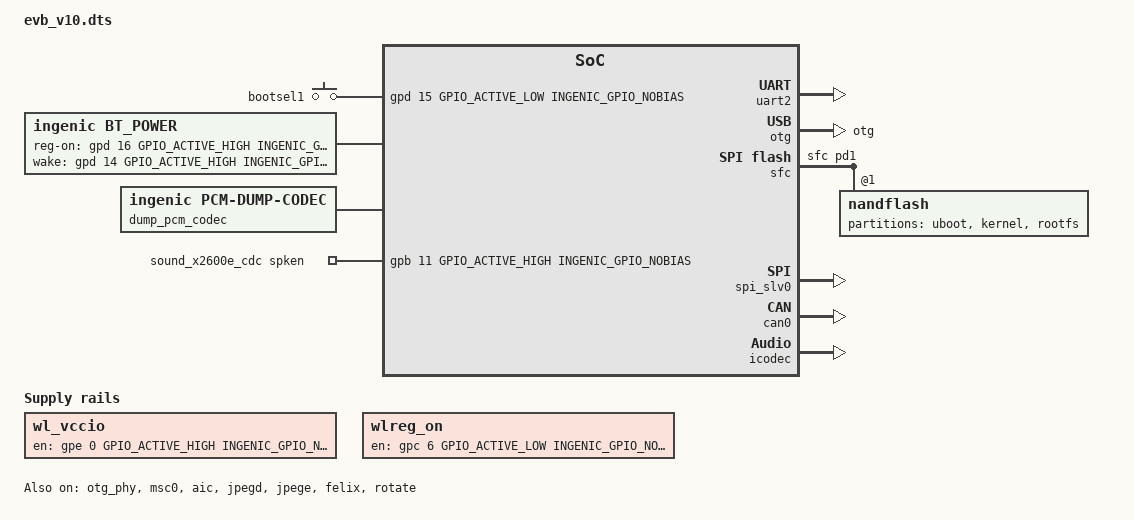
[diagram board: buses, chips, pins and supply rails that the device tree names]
/dts-v1/;

#include <dt-bindings/input/input.h>
#include <dt-bindings/interrupt-controller/irq.h>
#include <generated/autoconf.h>
#include "ad100.dtsi"

/ {
	compatible = "ingenic,ad100-evb";

	reserved-memory {
		#address-cells = <1>;
		#size-cells = <1>;
		ranges =<>;

		reserved_memory: reserved_mem@0x2D00000{
		      compatible = "shared-dma-pool";
		      reg = <0x02D00000 0x1200000>;
		};

	};
};

&uart2 {
	status = "okay";
	pinctrl-names = "default";
	pinctrl-0 = <&uart2_pd>;
};

&otg {
	dr_mode = "otg"; // host,peripheral,otg
	device-using-dma = <1>;
	status = "okay";
};

&otg_phy {
	status = "okay";
	ingenic,vbus-dete-gpio = <&gpb 04 GPIO_ACTIVE_LOW INGENIC_GPIO_NOBIAS>;
};

&msc0 {
	status = "okay";
	pinctrl-names ="default";
	pinctrl-0 = <&msc0_4bit>;
	max-frequency = <100000000>;
	bus-width = <4>;
	voltage-ranges = <3300 3300>;

	/* special property */
	cd-gpios = <&gpc 28 GPIO_ACTIVE_LOW INGENIC_GPIO_NOBIAS>;
};


&msc1 {
	status = "disabled";
	/*mmc-hs200-1_8v;*/
	pinctrl-names ="default";
	pinctrl-0 = <&msc1_4bit1>;

	cap-mmc-highspeed;
	max-frequency = <50000000>;
	bus-width = <4>;
	voltage-ranges = <1800 3300>;
	non-removable;

	ingenic,sdio_clk = <1>;
	keep-power-in-suspend;
	ingenic,removal-manual;
};

&sfc {
	status = "okay";
	pinctrl-names = "default";
	pinctrl-0 = <&sfc_pd1>;
	ingenic,sfc-max-frequency = <200000000>;
	ingenic,sfc-init-frequency= <40000000>;
	ingenic,use_ofpart_info  = /bits/ 8 <0>;
	ingenic,spiflash_param_offset = <0>;

	nandflash@1 {
		partitions {
			compatible = "fixed-partitions";
			#address-cells = <1>;
			#size-cells = <1>;
			/* spi nand flash partition */
			partition@0 {
				label = "uboot";
				reg = <0x0000000 0x100000>;
			/*read-only;*/
			};
			partition@100000 {
				label = "kernel";
				reg = <0x100000 0x800000>;
			};
			partition@900000 {
				label = "rootfs";
				reg = <0x900000 0xf700000>;
			};
		};
	};
};

&aic {
	status = "okay";
};

&dmic {
	status = "disable";
	pinctrl-names = "default";
	pinctrl-0 = <&dmic_pc_2ch>;
};

&spi_slv0 {
	status = "okay";
	pinctrl-names = "default";
	pinctrl-0 = <&spi_slv_pb>;
	ingenic,has_dma_support = <0>;
};

&can0 {
	status = "okay";
	pinctrl-names = "default";
	pinctrl-0 = <&can0_pin>;
	ingenic,clk-freq = <24000000>;
};

&efuse {
	status = "disabled";
};

&dtrng {
	status = "disabled";
};

&tcu0 {
	status = "disable";
};

&tcu1 {
	status = "disable";
};

/ {

	extclk: extclk {
		clock-frequency = <24000000>;
	};

	gpio_keys: gpio_keys {
		   compatible = "gpio-keys";

		   bootsel1 {
			   label = "bootsel1";
			   linux,code = <KEY_BACK>;
			   gpios = <&gpd 15 GPIO_ACTIVE_LOW INGENIC_GPIO_NOBIAS>;
			   gpio-key,wakeup;
		   };
	};

	wl_vccio: wl-regulator {
		  compatible = "regulator-fixed";
		  regulator-name = "wl_vccio";
		  gpio = <&gpe 0 GPIO_ACTIVE_HIGH INGENIC_GPIO_NOBIAS>;
		  enable-active-high;
	};

	wlreg_on: wlreg-on {
		  compatible = "regulator-fixed";
		  regulator-name = "wlreg_on";
		  gpio = <&gpc 6 GPIO_ACTIVE_LOW INGENIC_GPIO_NOBIAS>;
		  enable-active-low;
	};

	/*
	 * gpd 14 bt wakeup host
	 * gpd 13 host wakeup bt
	 */
	bt_power {
		compatible = "ingenic,bt_power";
		ingenic,reg-on-gpio = <&gpd 16 GPIO_ACTIVE_HIGH INGENIC_GPIO_NOBIAS>;
		ingenic,wake-gpio = <&gpd 14 GPIO_ACTIVE_HIGH INGENIC_GPIO_NOBIAS>;
		status = "okay";
	};

	watchdog {
		compatible = "sgm820-wdt";
		ingenic,sgm820-wdi = <&gpc 12 GPIO_ACTIVE_LOW INGENIC_GPIO_NOBIAS>;
		status = "okay";
	};

	dump_pcm_codec:dump_pcm_codec{
		compatible = "ingenic,pcm-dump-codec";
		status = "okay";
	};

	sound_x2600e_cdc {
		status = "okay";
		compatible = "ingenic,x2660-halley-sound";
		ingenic,model = "x2660";
		ingenic,dai-link = "pcm", "i2s-icodec", "dmic", "i2s-tloop";
		ingenic,stream = "pcm", "i2s-icodec", "dmic", "i2s-tloop";
		ingenic,cpu-dai = <&pcm>, <&i2s>, <&dmic>, <&i2s_tloop>;
		ingenic,platform = <&pcm>, <&aic>, <&dmic>, <&i2s_tloop>;
		ingenic,codec =  <&dump_pcm_codec>, <&icodec>, <&dmic>, <&dump_pcm_codec>;
		ingenic,codec-dai = "pcm-dump", "icodec", "dmic-dump-codec", "pcm-dump";
		ingenic,audio-routing = "Speaker", "HPOUTL", "DACL", "MICBIAS" ,
			"ADCL",  "MICL",
			"ADCR",  "MICR";
		ingenic,spken-gpio = <&gpb 11 GPIO_ACTIVE_HIGH INGENIC_GPIO_NOBIAS>;
	};

	spi_gpio {
		status = "disabled";
		compatible = "spi-gpio";
		#address-cells = <1>;
		#size-cells = <0>;
		/*ranges;*/
		gpio-sck = <&gpe 12 GPIO_ACTIVE_LOW INGENIC_GPIO_NOBIAS>;
		gpio-miso = <&gpe 13 GPIO_ACTIVE_LOW INGENIC_GPIO_NOBIAS>;
		gpio-mosi = <&gpe 14 GPIO_ACTIVE_LOW INGENIC_GPIO_NOBIAS>;
		cs-gpios = <&gpe 15 GPIO_ACTIVE_LOW INGENIC_GPIO_NOBIAS>;
		num-chipselects = <1>;
		/* clients */
		spidev1: spidev1@0 {
			compatible = "rohm,dh2228fv";
			reg = <0>;
			spi-max-frequency = <500000>;
		};
	};
};

&icodec {
	status = "okay";
	/**
	 * level1 : 1.6 * AVDD / 2
	 * level2 : 1.65 * AVDD / 2
	 * level3 : 1.7 * AVDD / 2
	 * level4 : 1.75 * AVDD / 2
	 * level5 : 1.8 * AVDD / 2
	 * level6 : 1.85 * AVDD / 2
	 * level7 : 1.9 * AVDD / 2
	 * level8 : 1.95 * AVDD / 2
	 */
	ingenic,micbias_level = <2>;

	/**
		micgain level list:
		level0: 0dB
		level1: 6dB
		level2: 20dB
		level3: 30dB
	 */
	ingenic,micgain_level = <1>;

    dac2adc_enable = <0>;
};
&jpegd {
	status = "okay";
	memory-region=<&reserved_memory>;
};

&jpege {
	status = "okay";
	memory-region=<&reserved_memory>;
};

&felix {
	status = "okay";
	memory-region=<&reserved_memory>;
};

&rotate {
	status = "okay";
};

&pdma {
	status = "okay";
};

&pdma1 {
	status = "okay";
};

&sadc {
	status = "disable";
	pinctrl-names = "default";
	pinctrl-0 = <&aux_all_pe>;
	seq1 = <0 1 2 3 4 5 6 7 8 9 10 11 12 13 14 15>;
	/* seq1的连续转换间隔时间 单位 ms*/
	seq1-cont-interval = <10>;
	ingenic,has_dma_support = <0>;

};


&pinctrl {
    ingenic,gpe_msc_voltage = <GPIO_VOLTAGE_1V8>;
};
#ifdef CONFIG_STAGE_KD050HDFIA020
#include "ad100_evb_lcd/AD100_EVB_MIPI_LCD_KD050HDFIA020.dtsi"
#endif
